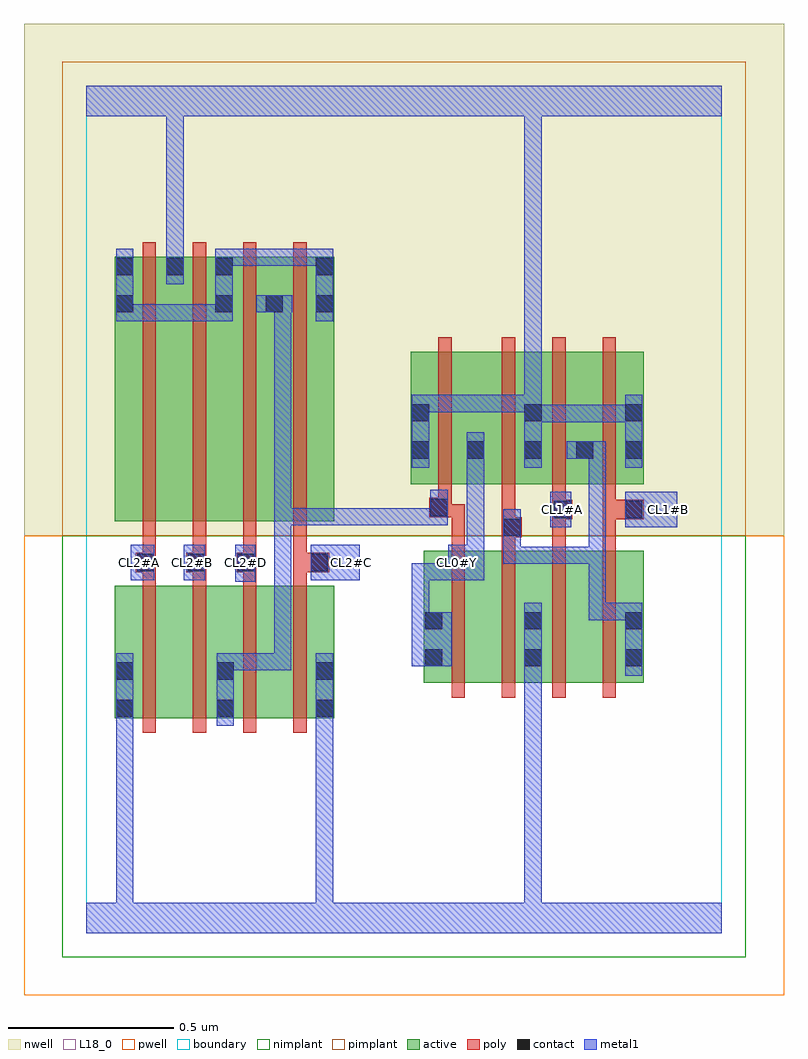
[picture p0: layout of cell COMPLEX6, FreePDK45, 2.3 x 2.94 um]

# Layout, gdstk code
import gdstk
lib = gdstk.Library(unit=1e-6, precision=1e-09)
def R(c, l, rs):  # rectangles x0, y0, x1, y1
    for r in rs: c.add(gdstk.rectangle(r[:2], r[2:], *l))
def A(c, l, x, y, w, h, nx, ny, dx, dy):  # array of equal rectangles
    R(c, l, [(x+i*dx, y+j*dy, x+i*dx+w, y+j*dy+h) for i in range(nx) for j in range(ny)])
active = (1, 0)
pwell = (2, 0)
nwell = (3, 0)
nimplant = (4, 0)
pimplant = (5, 0)
poly = (9, 0)
contact = (10, 0)
metal1 = (11, 0)
L18_0 = (18, 0)
boundary = (235, 0)

complex6 = lib.new_cell('COMPLEX6')
R(complex6, active, [(0.086,0.65,0.146,1.05), (0.086,0.65,0.266,1.05), (0.266,0.65,0.45,1.05), (0.39,0.65,0.57,1.05), (0.39,0.65,0.45,0.822), (0.57,0.65,0.75,1.05), (0.69,0.65,0.75,1.05), (1.02,0.756,1.08,1.156), (1.02,0.756,1.2,1.156), (1.2,0.756,1.38,1.156), (1.32,0.756,1.38,1.156), (1.32,0.756,1.504,1.156), (1.504,0.756,1.684,1.156), (1.624,0.756,1.684,1.156), (0.086,1.244,0.146,2.044), (0.086,1.244,0.298,2.044), (0.238,1.244,0.446,2.044), (0.386,1.244,0.598,2.044), (0.538,1.244,0.75,2.044), (0.69,1.244,0.75,2.044), (0.98,1.356,1.04,1.644), (0.98,1.356,1.206,1.756), (1.146,1.356,1.206,1.644), (1.146,1.356,1.38,1.756), (1.32,1.356,1.38,1.644), (1.32,1.356,1.536,1.756), (1.476,1.356,1.536,1.644), (1.476,1.356,1.684,1.756), (1.624,1.356,1.684,1.644), (0.238,1.686,0.298,2.044), (0.386,1.686,0.446,2.044), (0.538,1.686,0.598,2.044)])
R(complex6, pwell, [(-0.188,-0.188,2.108,1.2)])
R(complex6, nwell, [(-0.188,1.2,2.108,2.748)])
R(complex6, nimplant, [(-0.072,-0.072,1.992,1.2)])
R(complex6, pimplant, [(-0.072,1.2,1.992,2.632)])
A(complex6, poly, 0.17, 0.606, 0.04, 0.488, 4, 1, 0.152, 0)
A(complex6, poly, 1.104, 0.712, 0.04, 0.488, 4, 1, 0.152, 0)
A(complex6, poly, 0.17, 1.054, 0.04, 0.076, 4, 1, 0.152, 0)
A(complex6, poly, 0.15, 1.09, 0.06, 0.06, 3, 1, 0.152, 0)
A(complex6, poly, 0.17, 1.11, 0.04, 0.13, 4, 1, 0.152, 0)
A(complex6, poly, 0.17, 1.2, 0.04, 0.888, 4, 1, 0.152, 0)
A(complex6, poly, 1.256, 1.312, 0.04, 0.488, 3, 1, 0.152, 0)
R(complex6, poly, [(0.17,1.09,0.21,1.13), (0.17,1.09,0.21,1.13), (0.322,1.09,0.362,1.13), (0.322,1.09,0.362,1.13), (0.474,1.09,0.514,1.13), (0.474,1.09,0.514,1.13), (0.626,1.09,0.734,1.15), (0.626,1.11,0.666,1.15), (0.626,1.11,0.666,1.15), (1.104,1.16,1.144,1.296), (1.256,1.16,1.296,1.236), (1.408,1.16,1.448,1.29), (1.56,1.16,1.6,1.29), (1.256,1.196,1.316,1.256), (1.256,1.216,1.296,1.256), (1.256,1.216,1.296,1.256), (1.256,1.216,1.296,1.352), (1.408,1.25,1.448,1.29), (1.408,1.25,1.448,1.29), (1.408,1.25,1.468,1.31), (1.56,1.25,1.684,1.31), (1.036,1.256,1.104,1.316), (1.064,1.256,1.104,1.296), (1.064,1.256,1.144,1.296), (1.408,1.27,1.448,1.352), (1.56,1.27,1.6,1.352), (1.56,1.27,1.6,1.31), (1.56,1.27,1.6,1.31), (1.064,1.276,1.104,1.352), (1.064,1.312,1.104,1.8)])
A(complex6, contact, 0.154, 1.094, 0.052, 0.052, 3, 1, 0.152, 0)
A(complex6, contact, 0.39, 1.876, 0.052, 0.052, 3, 1, 0.152, 0)
R(complex6, contact, [(0.09,0.654,0.142,0.706), (0.394,0.654,0.446,0.706), (0.694,0.654,0.746,0.706), (0.09,0.766,0.142,0.818), (0.394,0.766,0.446,0.818), (0.694,0.766,0.746,0.818), (1.024,0.806,1.076,0.858), (1.324,0.806,1.376,0.858), (1.628,0.806,1.68,0.858), (1.024,0.918,1.076,0.97), (1.324,0.918,1.376,0.97), (1.628,0.918,1.68,0.97), (0.678,1.094,0.73,1.146), (1.26,1.2,1.312,1.252), (1.412,1.254,1.464,1.306), (1.628,1.254,1.68,1.306), (1.04,1.26,1.092,1.312), (0.984,1.434,1.036,1.486), (1.15,1.434,1.202,1.486), (1.324,1.434,1.376,1.486), (1.48,1.434,1.532,1.486), (1.628,1.434,1.68,1.486), (0.984,1.546,1.036,1.598), (1.324,1.546,1.376,1.598), (1.628,1.546,1.68,1.598), (0.09,1.876,0.142,1.928), (0.09,1.988,0.142,2.04), (0.242,1.988,0.294,2.04), (0.39,1.988,0.442,2.04), (0.694,1.988,0.746,2.04)])
R(complex6, metal1, [(0,0,1.92,0.092), (0.09,0.04,0.142,0.092), (0.09,0.04,0.142,0.092), (0.09,0.04,0.142,0.092), (0.09,0.04,0.142,0.092), (0.09,0.04,0.142,0.092), (0.09,0.04,0.142,0.092), (0.09,0.04,0.142,0.092), (0.09,0.04,0.142,0.092), (0.09,0.04,0.142,0.092), (0.09,0.04,0.142,0.092), (0.09,0.04,0.142,0.092), (0.09,0.04,0.142,0.092), (0.09,0.04,0.142,0.678), (0.694,0.04,0.746,0.092), (0.694,0.04,0.746,0.092), (0.694,0.04,0.746,0.678), (1.324,0.04,1.376,0.092), (1.324,0.04,1.376,0.092), (1.324,0.04,1.376,0.092), (1.324,0.04,1.376,0.092), (1.324,0.04,1.376,0.092), (1.324,0.04,1.376,0.092), (1.324,0.04,1.376,0.092), (1.324,0.04,1.376,0.092), (1.324,0.04,1.376,0.092), (1.324,0.04,1.376,0.092), (1.324,0.04,1.376,0.092), (1.324,0.04,1.376,0.092), (1.324,0.04,1.376,0.83), (0.09,0.626,0.142,0.846), (0.394,0.626,0.446,0.846), (0.694,0.626,0.746,0.678), (0.694,0.626,0.746,0.678), (0.694,0.626,0.746,0.678), (0.694,0.626,0.746,0.678), (0.694,0.626,0.746,0.678), (0.694,0.626,0.746,0.678), (0.694,0.626,0.746,0.678), (0.694,0.626,0.746,0.678), (0.694,0.626,0.746,0.678), (0.694,0.626,0.746,0.678), (0.694,0.626,0.746,0.846), (1.324,0.778,1.376,0.998), (1.628,0.778,1.68,0.998), (0.394,0.794,0.446,0.846), (0.394,0.794,0.446,0.846), (0.394,0.794,0.446,0.846), (0.394,0.794,0.446,0.846), (0.394,0.794,0.62,0.846), (0.568,0.794,0.62,0.846), (0.568,0.794,0.62,1.284), (0.984,0.806,1.104,0.97), (0.984,0.918,1.036,1.118), (1.518,0.946,1.57,0.998), (1.518,0.946,1.68,0.998), (1.518,0.946,1.57,1.168), (1.628,0.946,1.68,0.998), (1.628,0.946,1.68,0.998), (0.45,1.062,0.51,1.174), (0.134,1.066,0.206,1.174), (0.294,1.066,0.358,1.174), (0.678,1.066,0.826,1.174), (0.984,1.066,1.036,1.118), (0.984,1.066,1.036,1.118), (0.984,1.066,1.036,1.118), (0.984,1.066,1.146,1.118), (1.094,1.066,1.202,1.174), (1.26,1.116,1.57,1.168), (1.26,1.116,1.312,1.224), (1.518,1.116,1.57,1.168), (1.518,1.116,1.57,1.168), (1.518,1.116,1.57,1.168), (1.518,1.116,1.57,1.168), (1.518,1.116,1.57,1.168), (1.518,1.116,1.57,1.486), (1.15,1.122,1.202,1.458), (1.26,1.172,1.312,1.224), (1.26,1.172,1.312,1.28), (1.402,1.226,1.466,1.334), (1.628,1.226,1.786,1.334), (0.568,1.232,0.62,1.284), (0.568,1.232,0.62,1.284), (0.568,1.232,0.62,1.284), (0.568,1.232,0.906,1.284), (0.568,1.232,0.62,1.928), (0.854,1.232,0.906,1.284), (0.854,1.232,0.906,1.284), (0.854,1.232,0.906,1.284), (0.854,1.232,1.092,1.284), (1.04,1.232,1.092,1.34), (0.984,1.406,1.036,1.626), (1.15,1.406,1.202,1.458), (1.15,1.406,1.202,1.458), (1.15,1.406,1.202,1.514), (1.324,1.406,1.376,1.626), (1.628,1.406,1.68,1.626), (1.452,1.434,1.57,1.486), (1.324,1.544,1.486,1.596), (1.434,1.544,1.486,1.596), (1.434,1.544,1.486,1.596), (1.434,1.544,1.486,1.596), (1.434,1.544,1.68,1.596), (1.628,1.544,1.68,1.596), (1.628,1.544,1.68,1.596), (0.984,1.574,1.036,1.626), (0.984,1.574,1.036,1.626), (0.984,1.574,1.202,1.626), (1.15,1.574,1.202,1.626), (1.15,1.574,1.202,1.626), (1.15,1.574,1.202,1.626), (1.15,1.574,1.376,1.626), (1.324,1.574,1.376,1.626), (1.324,1.574,1.376,1.626), (1.324,1.574,1.376,1.626), (1.324,1.574,1.376,1.626), (1.324,1.574,1.376,1.626), (1.324,1.574,1.376,1.626), (1.324,1.574,1.376,1.626), (1.324,1.574,1.376,1.626), (1.324,1.574,1.376,1.626), (1.324,1.574,1.376,1.626), (1.324,1.574,1.376,1.626), (1.324,1.574,1.376,1.626), (1.324,1.574,1.376,1.626), (1.324,1.574,1.376,1.626), (1.324,1.574,1.376,1.626), (1.324,1.574,1.376,1.626), (1.324,1.574,1.376,2.52), (0.09,1.848,0.142,1.9), (0.09,1.848,0.142,1.9), (0.09,1.848,0.142,2.068), (0.09,1.848,0.252,1.9), (0.2,1.848,0.252,1.9), (0.2,1.848,0.252,1.9), (0.2,1.848,0.252,1.9), (0.2,1.848,0.442,1.9), (0.39,1.848,0.442,2.068), (0.694,1.848,0.746,2.068), (0.514,1.876,0.622,1.928), (0.242,1.96,0.294,2.068), (0.242,2.016,0.294,2.068), (0.242,2.016,0.294,2.068), (0.242,2.016,0.294,2.068), (0.242,2.016,0.294,2.068), (0.242,2.016,0.294,2.068), (0.242,2.016,0.294,2.068), (0.242,2.016,0.294,2.068), (0.242,2.016,0.294,2.068), (0.242,2.016,0.294,2.52), (0.39,2.016,0.442,2.068), (0.39,2.016,0.442,2.068), (0.39,2.016,0.442,2.068), (0.39,2.016,0.442,2.068), (0.39,2.016,0.636,2.068), (0.584,2.016,0.636,2.068), (0.584,2.016,0.746,2.068), (0.694,2.016,0.746,2.068), (0.694,2.016,0.746,2.068), (0,2.468,1.92,2.56)])
A(complex6, L18_0, 0.134, 1.094, 0.052, 0.052, 3, 1, 0.16, 0)
R(complex6, L18_0, [(0,0,1.92,0.092), (0.09,0.04,0.142,0.092), (0.09,0.04,0.142,0.092), (0.09,0.04,0.142,0.092), (0.09,0.04,0.142,0.092), (0.09,0.04,0.142,0.092), (0.09,0.04,0.142,0.092), (0.09,0.04,0.142,0.092), (0.09,0.04,0.142,0.092), (0.09,0.04,0.142,0.092), (0.09,0.04,0.142,0.092), (0.09,0.04,0.142,0.092), (0.09,0.04,0.142,0.092), (0.09,0.04,0.142,0.678), (0.694,0.04,0.746,0.092), (0.694,0.04,0.746,0.092), (0.694,0.04,0.746,0.678), (1.324,0.04,1.376,0.092), (1.324,0.04,1.376,0.092), (1.324,0.04,1.376,0.092), (1.324,0.04,1.376,0.092), (1.324,0.04,1.376,0.092), (1.324,0.04,1.376,0.092), (1.324,0.04,1.376,0.092), (1.324,0.04,1.376,0.092), (1.324,0.04,1.376,0.092), (1.324,0.04,1.376,0.092), (1.324,0.04,1.376,0.092), (1.324,0.04,1.376,0.092), (1.324,0.04,1.376,0.83), (0.09,0.626,0.142,0.846), (0.694,0.626,0.746,0.678), (0.694,0.626,0.746,0.678), (0.694,0.626,0.746,0.678), (0.694,0.626,0.746,0.678), (0.694,0.626,0.746,0.678), (0.694,0.626,0.746,0.678), (0.694,0.626,0.746,0.678), (0.694,0.626,0.746,0.678), (0.694,0.626,0.746,0.678), (0.694,0.626,0.746,0.678), (0.694,0.626,0.746,0.846), (1.324,0.778,1.376,0.998), (0.984,0.806,1.104,0.97), (0.984,0.918,1.036,1.118), (0.45,1.062,0.51,1.174), (0.134,1.066,0.206,1.174), (0.294,1.066,0.358,1.174), (0.678,1.066,0.826,1.174), (0.984,1.066,1.036,1.118), (0.984,1.066,1.036,1.118), (0.984,1.066,1.036,1.118), (0.984,1.066,1.146,1.118), (1.094,1.066,1.202,1.174), (0.774,1.094,0.826,1.146), (1.094,1.094,1.146,1.146), (1.15,1.122,1.202,1.458), (1.402,1.226,1.466,1.334), (1.628,1.226,1.786,1.334), (1.414,1.254,1.466,1.306), (1.734,1.254,1.786,1.306), (0.984,1.406,1.036,1.626), (1.15,1.406,1.202,1.458), (1.15,1.406,1.202,1.458), (1.15,1.406,1.202,1.514), (1.324,1.406,1.376,1.626), (1.628,1.406,1.68,1.626), (1.324,1.544,1.486,1.596), (1.434,1.544,1.486,1.596), (1.434,1.544,1.486,1.596), (1.434,1.544,1.486,1.596), (1.434,1.544,1.68,1.596), (1.628,1.544,1.68,1.596), (1.628,1.544,1.68,1.596), (0.984,1.574,1.036,1.626), (0.984,1.574,1.036,1.626), (0.984,1.574,1.202,1.626), (1.15,1.574,1.202,1.626), (1.15,1.574,1.202,1.626), (1.15,1.574,1.202,1.626), (1.15,1.574,1.376,1.626), (1.324,1.574,1.376,1.626), (1.324,1.574,1.376,1.626), (1.324,1.574,1.376,1.626), (1.324,1.574,1.376,1.626), (1.324,1.574,1.376,1.626), (1.324,1.574,1.376,1.626), (1.324,1.574,1.376,1.626), (1.324,1.574,1.376,1.626), (1.324,1.574,1.376,1.626), (1.324,1.574,1.376,1.626), (1.324,1.574,1.376,1.626), (1.324,1.574,1.376,1.626), (1.324,1.574,1.376,1.626), (1.324,1.574,1.376,1.626), (1.324,1.574,1.376,1.626), (1.324,1.574,1.376,1.626), (1.324,1.574,1.376,2.52), (0.242,1.96,0.294,2.068), (0.242,2.016,0.294,2.068), (0.242,2.016,0.294,2.068), (0.242,2.016,0.294,2.068), (0.242,2.016,0.294,2.068), (0.242,2.016,0.294,2.068), (0.242,2.016,0.294,2.068), (0.242,2.016,0.294,2.068), (0.242,2.016,0.294,2.068), (0.242,2.016,0.294,2.52), (0,2.468,1.92,2.56)])
R(complex6, boundary, [(0,0,1.92,2.56)])
complex6.add(gdstk.Label('CL0#Y', (1.12,1.12), layer=11, texttype=0))
complex6.add(gdstk.Label('CL1#A', (1.44,1.28), layer=11, texttype=0))
complex6.add(gdstk.Label('CL1#B', (1.76,1.28), layer=11, texttype=0))
complex6.add(gdstk.Label('CL2#A', (0.16,1.12), layer=11, texttype=0))
complex6.add(gdstk.Label('CL2#B', (0.32,1.12), layer=11, texttype=0))
complex6.add(gdstk.Label('CL2#C', (0.8,1.12), layer=11, texttype=0))
complex6.add(gdstk.Label('CL2#D', (0.48,1.12), layer=11, texttype=0))

lib.write_gds('COMPLEX6.gds')
